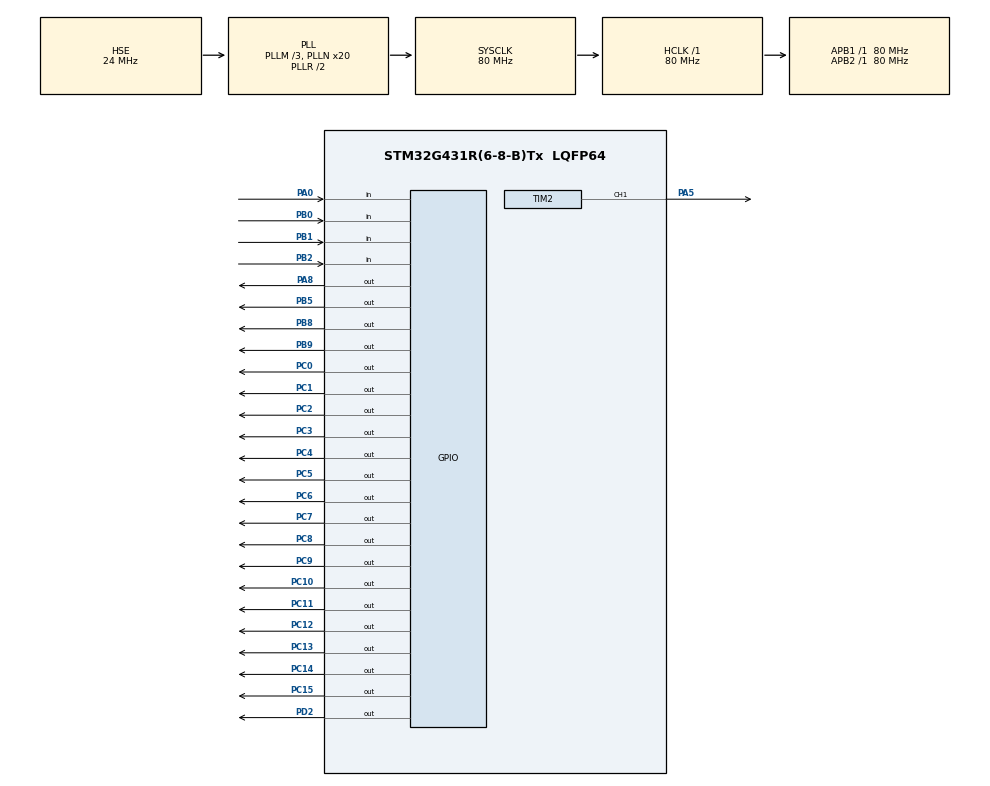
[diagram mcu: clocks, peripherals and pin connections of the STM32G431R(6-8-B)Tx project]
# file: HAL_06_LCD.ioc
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Mcu.Family=STM32G4
TIM2.Channel-Output\ Compare1\ CH1=TIM_CHANNEL_1
RCC.CortexFreq_Value=80000000
PC10.Signal=GPIO_Output
PC12.Signal=GPIO_Output
RCC.SYSCLKSource=RCC_SYSCLKSOURCE_PLLCLK
ProjectManager.StackSize=0x400
PB1.GPIO_PuPd=GPIO_NOPULL
RCC.HCLKFreq_Value=80000000
RCC.APB2TimFreq_Value=80000000
PC7.Signal=GPIO_Output
PC3.Signal=GPIO_Output
RCC.AHBFreq_Value=80000000
RCC.HSE_VALUE=24000000
PB2.Signal=GPIO_Input
RCC.ADC12Freq_Value=80000000
TIM2.PeriodNoDither=4294967295
PA14.Mode=Serial_Wire
NVIC.TIM2_IRQn=true\:0\:0\:false\:false\:true\:true\:true
VP_SYS_VS_DBSignals.Mode=DisableDeadBatterySignals
PA8.Signal=GPIO_Output
PB2.GPIO_PuPd=GPIO_NOPULL
PA0.Signal=GPIO_Input
Mcu.Package=LQFP64
PB9.Signal=GPIO_Output
TIM2.Prescaler=80 - 1
PB1.Signal=GPIO_Input
TIM2.OCMode_1=TIM_OCMODE_TOGGLE
PB0.GPIO_Mode=GPIO_MODE_INPUT
PA0.GPIO_PuPd=GPIO_NOPULL
RCC.APB1TimFreq_Value=80000000
PC5.Signal=GPIO_Output
PF1-OSC_OUT.Mode=HSE-External-Oscillator
PF1-OSC_OUT.Signal=RCC_OSC_OUT
RCC.HSI48_VALUE=48000000
RCC.PLLSourceVirtual=RCC_PLLSOURCE_HSE
TIM2.PulseNoDither_1=1000000 / 2000
TIM4.AutoReloadPreload=TIM_AUTORELOAD_PRELOAD_ENABLE
SH.S_TIM2_CH1.0=TIM2_CH1,Output Compare1 CH1
PC11.Signal=GPIO_Output
PC13.Signal=GPIO_Output
TIM4.PeriodNoDither=1000 - 1
PC8.Signal=GPIO_Output
PC4.Signal=GPIO_Output
PC2.Signal=GPIO_Output
PC6.Signal=GPIO_Output
PA0.GPIO_Mode=GPIO_MODE_INPUT
RCC.EXTERNAL_CLOCK_VALUE=12288000
PC0.Signal=GPIO_Output
PC14-OSC32_IN.Signal=GPIO_Output
PA13.Signal=SYS_JTMS-SWDIO
ProjectManager.TargetToolchain=MDK-ARM V5.27
PB1.GPIO_Mode=GPIO_MODE_INPUT
RCC.USBFreq_Value=80000000
TIM4.Prescaler=80 - 1
RCC.LSE_VALUE=32768
PC15-OSC32_OUT.Signal=GPIO_Output
PF0-OSC_IN.Mode=HSE-External-Oscillator
PA5.Signal=S_TIM2_CH1
PB8-BOOT0.Signal=GPIO_Output
board=custom
RCC.VCOOutputFreq_Value=160000000
RCC.APB2Freq_Value=80000000
PB2.GPIO_Mode=GPIO_MODE_INPUT
VP_TIM2_VS_ClockSourceINT.Mode=Internal
PA13.Mode=Serial_Wire
Mcu.Name=STM32G431R(6-8-B)Tx
RCC.SYSCLKFreq_VALUE=80000000
PB5.Signal=GPIO_Output
PA14.Signal=SYS_JTCK-SWCLK
ProjectManager.HeapSize=0x200
RCC.HSI_VALUE=16000000
VP_TIM4_VS_ClockSourceINT.Mode=Internal
NVIC.PriorityGroup=NVIC_PRIORITYGROUP_4
RCC.PLLM=RCC_PLLM_DIV3
RCC.PLLN=20
TIM2.AutoReloadPreload=TIM_AUTORELOAD_PRELOAD_DISABLE
PC9.Signal=GPIO_Output
PF0-OSC_IN.Signal=RCC_OSC_IN
PD2.Signal=GPIO_Output
NVIC.TIM4_IRQn=true\:0\:0\:false\:false\:true\:true\:true
RCC.APB1Freq_Value=80000000
PB0.Signal=GPIO_Input
PC1.Signal=GPIO_Output
PB0.GPIO_PuPd=GPIO_NOPULL

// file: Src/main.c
/* USER CODE BEGIN Header */
/**
  ******************************************************************************
  * @file           : main.c
  * @brief          : Main program body
  ******************************************************************************
  * @attention
  *
  * <h2><center>&copy; Copyright (c) 2021 STMicroelectronics.
  * All rights reserved.</center></h2>
  *
  * This software component is licensed by ST under BSD 3-Clause license,
  * the "License"; You may not use this file except in compliance with the
  * License. You may obtain a copy of the License at:
  *                        opensource.org/licenses/BSD-3-Clause
  *
  ******************************************************************************
  */
/* USER CODE END Header */

#include "main.h"
#include "tim.h"
#include "gpio.h"

/* USER CODE BEGIN PV */
uint16_t led_tick = 0;
_Bool led_flag = 0;

uint8_t key_tick = 0;
/* USER CODE END PV */

void SystemClock_Config(void);
/* USER CODE BEGIN PFP */
void led_proc(void);
void key_scan(void);
/* USER CODE END PFP */

int main(void)
{

  /* MCU Configuration--------------------------------------------------------*/

  /* Reset of all peripherals, Initializes the Flash interface and the Systick. */
  HAL_Init();

  /* Configure the system clock */
  SystemClock_Config();

  /* Initialize all configured peripherals */
  MX_GPIO_Init();
  MX_TIM4_Init();
  MX_TIM2_Init();
  /* USER CODE BEGIN 2 */

	LCD_Init();

	led_init();

	HAL_TIM_Base_Start_IT(&htim4);

	HAL_TIM_OC_Start_IT(&htim2,TIM_CHANNEL_1);

  /* USER CODE END 2 */

  /* Infinite loop */
  /* USER CODE BEGIN WHILE */

	LCD_Clear(Blue);
	LCD_SetBackColor(Blue);
	LCD_SetTextColor(White);

	LCD_DisplayStringLine(Line0, (uint8_t *)"                    ");
	LCD_DisplayStringLine(Line1, (uint8_t *)"                    ");
	LCD_DisplayStringLine(Line2, (uint8_t *)"      LCD Test      ");
	LCD_DisplayStringLine(Line3, (uint8_t *)"                    ");
	LCD_DisplayStringLine(Line4, (uint8_t *)"                    ");

	LCD_SetBackColor(White);
	LCD_SetTextColor(Blue);

	LCD_DisplayStringLine(Line5, (uint8_t *)"                    ");
	LCD_DisplayStringLine(Line6, (uint8_t *)"       HAL LIB      ");
	LCD_DisplayStringLine(Line7, (uint8_t *)"                    ");
	LCD_DisplayStringLine(Line8, (uint8_t *)"         @80        ");
	LCD_DisplayStringLine(Line9, (uint8_t *)"                    ");

  while (1)
  {
    /* USER CODE END WHILE */

    /* USER CODE BEGIN 3 */
		led_proc();
  }
  /* USER CODE END 3 */
}

void SystemClock_Config(void)
{
  RCC_OscInitTypeDef RCC_OscInitStruct = {0};
  RCC_ClkInitTypeDef RCC_ClkInitStruct = {0};

  /** Configure the main internal regulator output voltage
  */
  HAL_PWREx_ControlVoltageScaling(PWR_REGULATOR_VOLTAGE_SCALE1);
  /** Initializes the CPU, AHB and APB busses clocks
  */
  RCC_OscInitStruct.OscillatorType = RCC_OSCILLATORTYPE_HSE;
  RCC_OscInitStruct.HSEState = RCC_HSE_ON;
  RCC_OscInitStruct.PLL.PLLState = RCC_PLL_ON;
  RCC_OscInitStruct.PLL.PLLSource = RCC_PLLSOURCE_HSE;
  RCC_OscInitStruct.PLL.PLLM = RCC_PLLM_DIV3;
  RCC_OscInitStruct.PLL.PLLN = 20;
  RCC_OscInitStruct.PLL.PLLP = RCC_PLLP_DIV2;
  RCC_OscInitStruct.PLL.PLLQ = RCC_PLLQ_DIV2;
  RCC_OscInitStruct.PLL.PLLR = RCC_PLLR_DIV2;
  if (HAL_RCC_OscConfig(&RCC_OscInitStruct) != HAL_OK)
  {
    Error_Handler();
  }
  /** Initializes the CPU, AHB and APB busses clocks
  */
  RCC_ClkInitStruct.ClockType = RCC_CLOCKTYPE_HCLK|RCC_CLOCKTYPE_SYSCLK
                              |RCC_CLOCKTYPE_PCLK1|RCC_CLOCKTYPE_PCLK2;
  RCC_ClkInitStruct.SYSCLKSource = RCC_SYSCLKSOURCE_PLLCLK;
  RCC_ClkInitStruct.AHBCLKDivider = RCC_SYSCLK_DIV1;
  RCC_ClkInitStruct.APB1CLKDivider = RCC_HCLK_DIV1;
  RCC_ClkInitStruct.APB2CLKDivider = RCC_HCLK_DIV1;

  if (HAL_RCC_ClockConfig(&RCC_ClkInitStruct, FLASH_LATENCY_3) != HAL_OK)
  {
    Error_Handler();
  }
}

/* USER CODE BEGIN 4 */
void key_scan(void)
{
	key_refresh();
	if(key_falling == B1)
	{
		led_toggle(LD5);
	}
	else if(key_falling == B2)
	{
		led_toggle(LD6);
	}
	else if(key_falling == B3)
	{
		led_toggle(LD7);
	}
	else if(key_falling == B4)
	{
		led_toggle(LD8);
	}
}

void led_proc(void)
{
	if(led_flag)
	{
		led_flag = 0;
		led_toggle(LD1);
	}
}

void HAL_TIM_PeriodElapsedCallback(TIM_HandleTypeDef *htim)
{
	if(htim->Instance == TIM4)
	{
		if(++led_tick == 1000)
		{
			led_tick = 0;
			led_flag = 1;
		}
		if(++key_tick == 10)
		{
			key_tick = 0;
			key_scan();
		}
	}
}

void HAL_TIM_OC_DelayElapsedCallback(TIM_HandleTypeDef *htim)
{
	uint32_t capture;
	static _Bool ch1_flag = 0;
	static uint32_t CCR1 = 1000000 / 2000;
	static float duty = 0.4;
	if(htim->Instance == TIM2)
	{
		if(htim->Channel == HAL_TIM_ACTIVE_CHANNEL_1)
		{
			capture = __HAL_TIM_GET_COMPARE(htim,TIM_CHANNEL_1);
			if(ch1_flag)
				__HAL_TIM_SET_COMPARE(htim,TIM_CHANNEL_1,capture + (CCR1 * duty));
			else
				__HAL_TIM_SET_COMPARE(htim,TIM_CHANNEL_1,capture + (CCR1 * (1 - duty)));
			ch1_flag = !ch1_flag;
		}
	}
}
/* USER CODE END 4 */

void Error_Handler(void)
{
}

/************************ (C) COPYRIGHT STMicroelectronics *****END OF FILE****/
